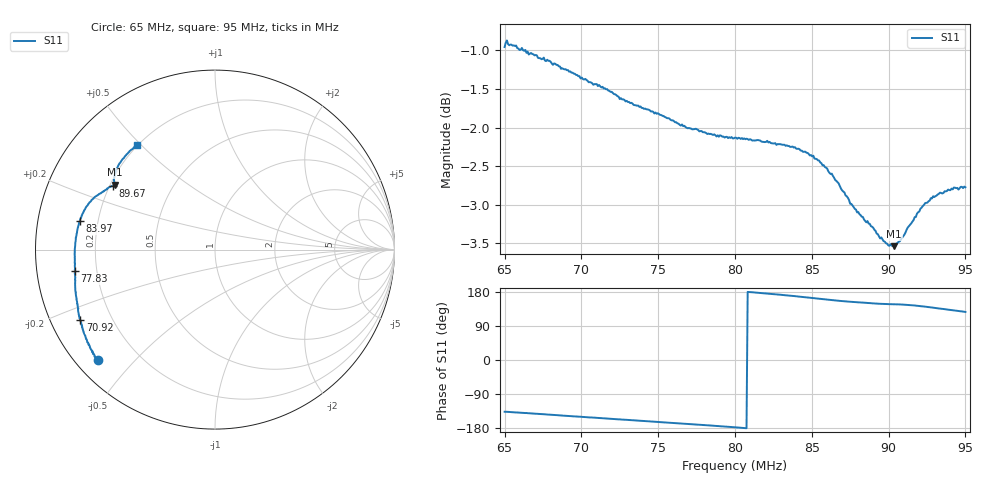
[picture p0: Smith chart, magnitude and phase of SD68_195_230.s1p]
! NanoVNA-App
! Date: 2025-08-09 16:29:47
! Start: 65MHz Stop: 95MHz Points: 401
! S-Parameter data: F S11
# Hz S RI R 50
!  Frequency  S11_Real  S11_Imag
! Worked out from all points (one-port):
!   401 points, 65 MHz to 95 MHz, reference 50 ohm
!   lowest |S11| = -3.5 dB at 90.35 MHz (marker M1), VSWR 4.98, Z = 10.9 + j14.1 ohm
!   |S11| at or under -10 dB: nowhere
!   S11 on the Smith chart (normalised r, x): 65 MHz: 0.06, -0.40; 70.92 MHz: 0.09, -0.24; 77.83 MHz: 0.12, -0.07; 83.97 MHz: 0.13, +0.10; 89.67 MHz: 0.21, +0.28; 95 MHz: 0.20, +0.48
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6.5e7  -0.65 -0.6165
6.5225e7  -0.6565 -0.6153
6.635e7  -0.6832 -0.5735
6.695e7  -0.6939 -0.5489
6.875e7  -0.7242 -0.4783
7.0925e7  -0.7513 -0.3924
7.1675e7  -0.7596 -0.3616
7.25e7  -0.761 -0.3284
7.5125e7  -0.7777 -0.2249
7.625e7  -0.779 -0.1797
7.7825e7  -0.7812 -0.1188
8e7  -0.7819 -0.032
8.21e7  -0.7761 0.0647
8.375e7  -0.7579 0.1479
8.3975e7  -0.7533 0.1589
8.495e7  -0.7328 0.2107
8.5925e7  -0.7018 0.2594
8.675e7  -0.6693 0.2936
8.75e7  -0.6357 0.3138
8.9e7  -0.5886 0.3485
8.9675e7  -0.5682 0.3559
9.035e7  -0.5583 0.3621
9.08e7  -0.5605 0.371
9.125e7  -0.5631 0.3889
9.2225e7  -0.5527 0.4401
9.275e7  -0.5376 0.4712
9.4175e7  -0.478 0.5443
9.5e7  -0.4362 0.5811
